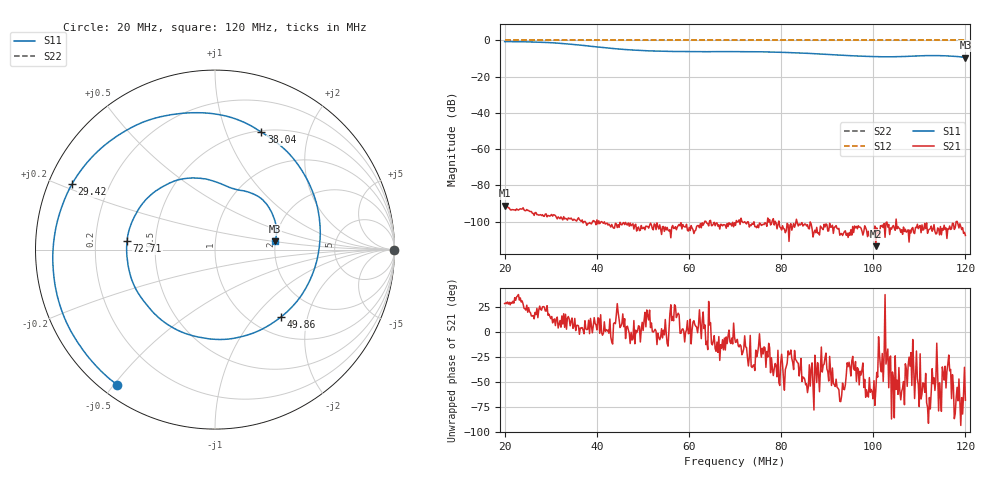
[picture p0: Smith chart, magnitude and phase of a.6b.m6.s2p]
! Anritsu VNA Master:  Model: MS2036C/10/77
! SN:  1601066
! /bd0/18may07/256.ns.m6.s2p
! Existing Calibration Information:
! TYPE:  Current Settings,  Active Cal Settings
! TIME:  05/07/2018 03:10:31 PM,  05/07/2018 02:58:54 PM
! INTERNAL TEMP:  60.3 C,  58.8 C
! # POINTS:  500,  500
! START FREQ:  20.000 MHz,  20.000 MHz
! STOP FREQ:  120.000 MHz,  120.000 MHz
! SOURCE POWER:  High,  High
! IFBW:  50 Hz,  50 Hz
! AVG FACTOR:  1 ,  1
! REF PLANE 1:  0 mm,  0 mm
! REF PLANE 2:  0 mm,  0 mm
! CAL TYPE:  Full S11,  Full S11
! CAL METHOD:  SOLT,  SOLT
! CAL LINE TYPE:  Coax,  Coax
! DUT PORT 1:  K-Conn(F),  K-Conn(F)
! DUT PORT 2:  K-Conn(F),  K-Conn(F)
! CAL STATUS:  OK: Accuracy High,  --
# GHZ S DB R 50.0
! FREQ.GHZ  S11DB  S11A  S21DB  S21A  S12DB  S12A  S22DB  S22A
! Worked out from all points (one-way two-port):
!   500 points, 20 MHz to 120 MHz, reference 50 ohm
!   highest |S21| = -91.19 dB at 20 MHz (marker M1); lowest = -113.5 dB at 100.6 MHz (marker M2)
!   lowest |S11| = -9.4 dB at 120 MHz (marker M3), VSWR 2.02, Z = 99.6 + j10.4 ohm
!   |S11| at or under -10 dB: nowhere
!   |S22| runs from 0.0 to 0.0 dB; largest |S21 - S12| = 1
!   S11 on the Smith chart (normalised r, x): 20 MHz: 0.05, -0.51; 29.42 MHz: 0.07, +0.22; 38.04 MHz: 0.52, +1.34; 49.86 MHz: 1.34, -1.39; 72.71 MHz: 0.34, +0.04; 120 MHz: 1.99, +0.21
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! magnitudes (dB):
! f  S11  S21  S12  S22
! 20 MHz  -0.6  -91.2  0.0  0.0
! 24.81 MHz  -0.8  -93.3  0.0  0.0
! 29.42 MHz  -1.1  -96.6  0.0  0.0
! 33.03 MHz  -1.8  -98.4  0.0  0.0
! 36.83 MHz  -2.7  -99.0  0.0  0.0
! 38.04 MHz  -3.1  -101.1  0.0  0.0
! 44.85 MHz  -4.8  -103.1  0.0  0.0
! 49.86 MHz  -5.6  -103.7  0.0  0.0
! 53.47 MHz  -5.9  -104.0  0.0  0.0
! 63.49 MHz  -6.2  -99.7  0.0  0.0
! 70.1 MHz  -6.2  -102.0  0.0  0.0
! 72.71 MHz  -6.2  -100.0  0.0  0.0
! 79.32 MHz  -6.5  -101.6  0.0  0.0
! 86.73 MHz  -7.2  -104.0  0.0  0.0
! 95.35 MHz  -8.4  -107.4  0.0  0.0
! 100.6 MHz  -8.9  -113.5  0.0  0.0
! 103.4 MHz  -9.0  -101.5  0.0  0.0
! 106 MHz  -8.9  -105.8  0.0  0.0
! 111.4 MHz  -8.4  -103.8  0.0  0.0
! 113.4 MHz  -8.3  -105.3  0.0  0.0
! 117.4 MHz  -8.7  -101.0  0.0  0.0
! 120 MHz  -9.4  -107.6  0.0  0.0
